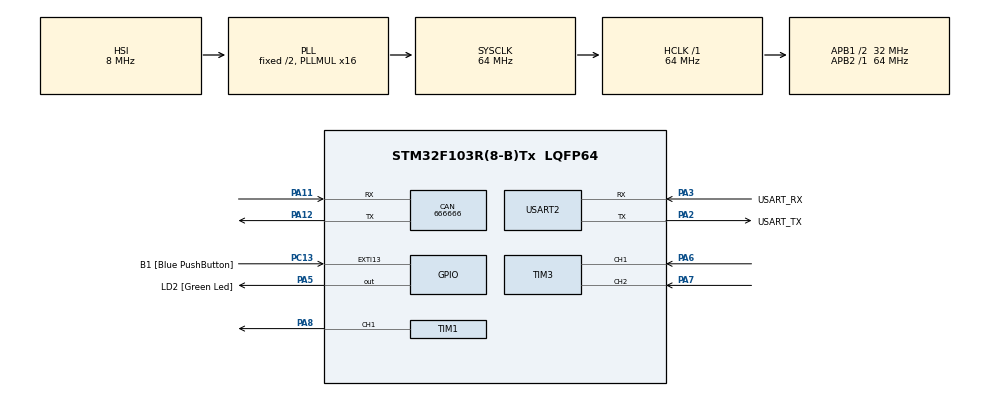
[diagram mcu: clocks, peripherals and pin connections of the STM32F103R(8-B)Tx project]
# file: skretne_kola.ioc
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CAN.CalculateBaudRate=666666
CAN.CalculateTimeBit=1500
CAN.CalculateTimeQuantum=500.0
CAN.RFLM=ENABLE
CAN.TXFP=ENABLE
Mcu.Family=STM32F1
Mcu.Name=STM32F103R(8-B)Tx
Mcu.Package=LQFP64
NVIC.EXTI15_10_IRQn=true\:0\:0\:false\:false\:true\:true\:true\:true
NVIC.PriorityGroup=NVIC_PRIORITYGROUP_4
NVIC.USB_HP_CAN1_TX_IRQn=true\:0\:0\:false\:false\:true\:true\:true\:true
NVIC.USB_LP_CAN1_RX0_IRQn=true\:0\:0\:false\:false\:true\:true\:true\:true
PA11.Mode=CAN_Activate
PA11.Signal=CAN_RX
PA12.Mode=CAN_Activate
PA12.Signal=CAN_TX
PA13.GPIO_Label=TMS
PA13.Mode=Serial_Wire
PA13.Signal=SYS_JTMS-SWDIO
PA14.GPIO_Label=TCK
PA14.Mode=Serial_Wire
PA14.Signal=SYS_JTCK-SWCLK
PA2.GPIO_Label=USART_TX
PA2.GPIO_Mode=GPIO_MODE_AF_PP
PA2.GPIO_PuPd=GPIO_NOPULL
PA2.GPIO_Speed=GPIO_SPEED_FREQ_LOW
PA2.Mode=Asynchronous
PA2.Signal=USART2_TX
PA3.GPIO_Label=USART_RX
PA3.GPIO_Mode=GPIO_MODE_AF_PP
PA3.GPIO_PuPd=GPIO_NOPULL
PA3.GPIO_Speed=GPIO_SPEED_FREQ_LOW
PA3.Mode=Asynchronous
PA3.Signal=USART2_RX
PA5.GPIO_Label=LD2 [Green Led]
PA5.GPIO_ModeDefaultOutputPP=GPIO_MODE_OUTPUT_PP
PA5.GPIO_PuPd=GPIO_NOPULL
PA5.GPIO_Speed=GPIO_SPEED_FREQ_LOW
PA5.Signal=GPIO_Output
PA6.Signal=S_TIM3_CH1
PA7.Signal=S_TIM3_CH2
PA8.Signal=S_TIM1_CH1
PB3.GPIO_Label=SWO
PB3.Signal=SYS_JTDO-TRACESWO
PC13-TAMPER-RTC.GPIO_Label=B1 [Blue PushButton]
PC13-TAMPER-RTC.GPIO_PuPd=GPIO_NOPULL
PC13-TAMPER-RTC.Signal=GPXTI13
PC14-OSC32_IN.Mode=LSE-External-Oscillator
PC14-OSC32_IN.Signal=RCC_OSC32_IN
PC15-OSC32_OUT.Mode=LSE-External-Oscillator
PC15-OSC32_OUT.Signal=RCC_OSC32_OUT
PD0-OSC_IN.Mode=HSE-External-Clock-Source
PD0-OSC_IN.Signal=RCC_OSC_IN
PD1-OSC_OUT.Mode=HSE-External-Clock-Source
PD1-OSC_OUT.Signal=RCC_OSC_OUT
ProjectManager.HeapSize=0x200
ProjectManager.StackSize=0x400
ProjectManager.TargetToolchain=STM32CubeIDE
RCC.AHBFreq_Value=64000000
RCC.APB1CLKDivider=RCC_HCLK_DIV2
RCC.APB1Freq_Value=32000000
RCC.APB1TimFreq_Value=64000000
RCC.APB2Freq_Value=64000000
RCC.APB2TimFreq_Value=64000000
RCC.HCLKFreq_Value=64000000
RCC.PLLMUL=RCC_PLL_MUL16
RCC.RTCClockSelection=RCC_RTCCLKSOURCE_LSE
RCC.SYSCLKFreq_VALUE=64000000
RCC.SYSCLKSource=RCC_SYSCLKSOURCE_PLLCLK
RCC.USBFreq_Value=64000000
SH.S_TIM1_CH1.0=TIM1_CH1,PWM Generation1 CH1
SH.S_TIM3_CH1.0=TIM3_CH1,Encoder_Interface
SH.S_TIM3_CH2.0=TIM3_CH2,Encoder_Interface
TIM1.AutoReloadPreload=TIM_AUTORELOAD_PRELOAD_ENABLE
TIM1.Channel-PWM\ Generation1\ CH1=TIM_CHANNEL_1
TIM1.Period=999
TIM1.Prescaler=63
USART2.VirtualMode=VM_ASYNC
board=NUCLEO-F103RB

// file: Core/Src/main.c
/* USER CODE BEGIN Header */
/**
  ******************************************************************************
  * @file           : main.c
  * @brief          : Main program body
  ******************************************************************************
  * @attention
  *
  * Copyright (c) 2025 STMicroelectronics.
  * All rights reserved.
  *
  * This software is licensed under terms that can be found in the LICENSE file
  * in the root directory of this software component.
  * If no LICENSE file comes with this software, it is provided AS-IS.
  *
  ******************************************************************************
  */
/* USER CODE END Header */
#include "main.h"
#include "can.h"
#include "tim.h"
#include "usart.h"
#include "gpio.h"

/* USER CODE BEGIN Includes */
//#include "can.c"
/* USER CODE END Includes */

/* USER CODE BEGIN PV */
float count=0.0f;
float angle;
float przełożenie=100.0f;
extern float receivedInt;
float Kp = 1.0f;
float Ki = 0.05f;
float Kd = 0.1f;

float previous_error = 0.0f;
float integral = 0.0f;
uint32_t current_pwm = 0;  // Aktualna wartość PWM (po rampowaniu)
uint32_t ramp_step = 5;    // Maksymalna zmiana PWM na jedną iterację
uint32_t pwm_output = 0;
/* USER CODE END PV */

void SystemClock_Config(void);

/* USER CODE BEGIN 0 */
uint32_t PID_Update(float setpoint, float measurement)
{
    float error = setpoint - measurement;

    integral += error;
    float derivative = error - previous_error;

    float output = Kp * error + Ki * integral + Kd * derivative;

    previous_error = error;

    // Ograniczenie wyjścia PWM do 0 - 1000 (np. dla 1kHz timera)
    if (output < 0) output = 0;
    if (output > 1000) output = 1000;

    return (uint32_t)output;
}
/* USER CODE END 0 */

int main(void)
{

  /* MCU Configuration--------------------------------------------------------*/

  /* Reset of all peripherals, Initializes the Flash interface and the Systick. */
  HAL_Init();

  /* Configure the system clock */
  SystemClock_Config();

  /* Initialize all configured peripherals */
  MX_GPIO_Init();
  MX_USART2_UART_Init();
  MX_CAN_Init();
  MX_TIM1_Init();
  MX_TIM3_Init();
  /* USER CODE BEGIN 2 */

  HAL_TIM_Encoder_Start(&htim3,TIM_CHANNEL_ALL);
  /* USER CODE END 2 */

  /* Infinite loop */
  /* USER CODE BEGIN WHILE */
  while (1)
  {
	  count=__HAL_TIM_GET_COUNTER(&htim3);
	  angle=count*360/(4096*przełożenie);
	  pwm_output = PID_Update((float)receivedInt, (float)angle);
	  if (pwm_output > current_pwm)
	  {
	      current_pwm += ramp_step;
	      if (current_pwm > pwm_output) current_pwm = pwm_output;
	  }
	  else if (pwm_output < current_pwm)
	  {
	      if (current_pwm > ramp_step)
	          current_pwm -= ramp_step;
	      else
	          current_pwm = 0;
	  }
	  __HAL_TIM_SET_COMPARE(&htim1, TIM_CHANNEL_1, pwm_output);
	  HAL_TIM_PWM_Start(&htim1, TIM_CHANNEL_1);
    /* USER CODE END WHILE */

  }
}

void SystemClock_Config(void)
{
  RCC_OscInitTypeDef RCC_OscInitStruct = {0};
  RCC_ClkInitTypeDef RCC_ClkInitStruct = {0};

  /** Initializes the RCC Oscillators according to the specified parameters
  * in the RCC_OscInitTypeDef structure.
  */
  RCC_OscInitStruct.OscillatorType = RCC_OSCILLATORTYPE_HSI;
  RCC_OscInitStruct.HSIState = RCC_HSI_ON;
  RCC_OscInitStruct.HSICalibrationValue = RCC_HSICALIBRATION_DEFAULT;
  RCC_OscInitStruct.PLL.PLLState = RCC_PLL_ON;
  RCC_OscInitStruct.PLL.PLLSource = RCC_PLLSOURCE_HSI_DIV2;
  RCC_OscInitStruct.PLL.PLLMUL = RCC_PLL_MUL16;
  if (HAL_RCC_OscConfig(&RCC_OscInitStruct) != HAL_OK)
  {
    Error_Handler();
  }

  /** Initializes the CPU, AHB and APB buses clocks
  */
  RCC_ClkInitStruct.ClockType = RCC_CLOCKTYPE_HCLK|RCC_CLOCKTYPE_SYSCLK
                              |RCC_CLOCKTYPE_PCLK1|RCC_CLOCKTYPE_PCLK2;
  RCC_ClkInitStruct.SYSCLKSource = RCC_SYSCLKSOURCE_PLLCLK;
  RCC_ClkInitStruct.AHBCLKDivider = RCC_SYSCLK_DIV1;
  RCC_ClkInitStruct.APB1CLKDivider = RCC_HCLK_DIV2;
  RCC_ClkInitStruct.APB2CLKDivider = RCC_HCLK_DIV1;

  if (HAL_RCC_ClockConfig(&RCC_ClkInitStruct, FLASH_LATENCY_2) != HAL_OK)
  {
    Error_Handler();
  }
}

void Error_Handler(void)
{
  __disable_irq();
  while (1)
  {
  }
}
